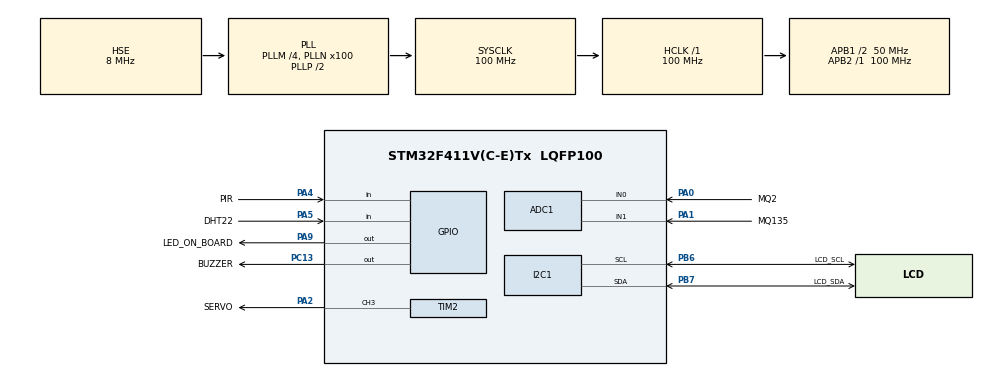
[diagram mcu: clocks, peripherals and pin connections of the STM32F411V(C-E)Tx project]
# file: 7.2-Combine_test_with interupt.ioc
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ADC1.Channel-0\#ChannelRegularConversion=ADC_CHANNEL_0
ADC1.Channel-1\#ChannelRegularConversion=ADC_CHANNEL_1
ADC1.ContinuousConvMode=ENABLE
ADC1.DMAContinuousRequests=ENABLE
ADC1.NbrOfConversion=2
ADC1.NbrOfConversionFlag=1
ADC1.Rank-0\#ChannelRegularConversion=1
ADC1.Rank-1\#ChannelRegularConversion=2
ADC1.SamplingTime-0\#ChannelRegularConversion=ADC_SAMPLETIME_84CYCLES
ADC1.SamplingTime-1\#ChannelRegularConversion=ADC_SAMPLETIME_84CYCLES
ADC1.ScanConvMode=ENABLE
ADC1.master=1
Dma.ADC1.0.Direction=DMA_PERIPH_TO_MEMORY
Dma.ADC1.0.FIFOMode=DMA_FIFOMODE_DISABLE
Dma.ADC1.0.Instance=DMA2_Stream0
Dma.ADC1.0.MemDataAlignment=DMA_MDATAALIGN_HALFWORD
Dma.ADC1.0.MemInc=DMA_MINC_ENABLE
Dma.ADC1.0.Mode=DMA_CIRCULAR
Dma.ADC1.0.PeriphDataAlignment=DMA_PDATAALIGN_HALFWORD
Dma.ADC1.0.PeriphInc=DMA_PINC_DISABLE
Dma.ADC1.0.Priority=DMA_PRIORITY_LOW
Dma.Request0=ADC1
Mcu.Family=STM32F4
Mcu.Name=STM32F411V(C-E)Tx
Mcu.Package=LQFP100
NVIC.DMA2_Stream0_IRQn=true\:0\:0\:false\:false\:true\:false\:true\:true
NVIC.PriorityGroup=NVIC_PRIORITYGROUP_4
NVIC.TIM2_IRQn=true\:0\:0\:false\:false\:true\:true\:true\:true
NVIC.TIM4_IRQn=true\:0\:0\:false\:false\:true\:true\:true\:true
PA0-WKUP.GPIO_Label=MQ2
PA0-WKUP.Signal=ADCx_IN0
PA1.GPIO_Label=MQ135
PA1.Signal=ADCx_IN1
PA13.Mode=Serial_Wire
PA13.Signal=SYS_JTMS-SWDIO
PA14.Mode=Serial_Wire
PA14.Signal=SYS_JTCK-SWCLK
PA2.GPIO_Label=SERVO
PA2.Signal=S_TIM2_CH3
PA4.GPIO_Label=PIR
PA4.Signal=GPIO_Input
PA5.GPIO_Label=DHT22
PA5.Signal=GPIO_Input
PA9.GPIO_Label=LED_ON_BOARD
PA9.Signal=GPIO_Output
PB6.GPIO_Label=LCD_SCL
PB6.Mode=I2C
PB6.Signal=I2C1_SCL
PB7.GPIO_Label=LCD_SDA
PB7.Mode=I2C
PB7.Signal=I2C1_SDA
PC13-ANTI_TAMP.GPIO_Label=BUZZER
PC13-ANTI_TAMP.Signal=GPIO_Output
PH0\ -\ OSC_IN.Mode=HSE-External-Oscillator
PH0\ -\ OSC_IN.Signal=RCC_OSC_IN
PH1\ -\ OSC_OUT.Mode=HSE-External-Oscillator
PH1\ -\ OSC_OUT.Signal=RCC_OSC_OUT
ProjectManager.HeapSize=0x200
ProjectManager.StackSize=0x400
ProjectManager.TargetToolchain=STM32CubeIDE
RCC.48MHZClocksFreq_Value=50000000
RCC.AHBFreq_Value=100000000
RCC.APB1CLKDivider=RCC_HCLK_DIV2
RCC.APB1Freq_Value=50000000
RCC.APB1TimFreq_Value=100000000
RCC.APB2Freq_Value=100000000
RCC.APB2TimFreq_Value=100000000
RCC.CortexFreq_Value=100000000
RCC.HCLKFreq_Value=100000000
RCC.HSE_VALUE=8000000
RCC.HSI_VALUE=16000000
RCC.LSE_VALUE=32768
RCC.PLLM=4
RCC.PLLN=100
RCC.PLLSourceVirtual=RCC_PLLSOURCE_HSE
RCC.SYSCLKFreq_VALUE=100000000
RCC.SYSCLKSource=RCC_SYSCLKSOURCE_PLLCLK
RCC.VCOOutputFreq_Value=200000000
SH.ADCx_IN0.0=ADC1_IN0,IN0
SH.ADCx_IN1.0=ADC1_IN1,IN1
SH.S_TIM2_CH3.0=TIM2_CH3,PWM Generation3 CH3
TIM2.AutoReloadPreload=TIM_AUTORELOAD_PRELOAD_ENABLE
TIM2.Channel-PWM\ Generation3\ CH3=TIM_CHANNEL_3
TIM2.Period=19999
TIM2.Prescaler=99
TIM4.Period=999
TIM4.Prescaler=99
VP_TIM4_VS_ClockSourceINT.Mode=Internal
board=custom

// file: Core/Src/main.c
/* USER CODE BEGIN Header */
/**
  ******************************************************************************
  * @file           : main.c
  * @brief          : Main program body
  ******************************************************************************
  * @attention
  *
  * Copyright (c) 2025 STMicroelectronics.
  * All rights reserved.
  *
  * This software is licensed under terms that can be found in the LICENSE file
  * in the root directory of this software component.
  * If no LICENSE file comes with this software, it is provided AS-IS.
  *
  ******************************************************************************
  */
/* USER CODE END Header */
#include "main.h"

/* USER CODE BEGIN Includes */
#include "main.h"
#include "i2c_lcd.h"
#include "dhtxx.h"
#include "dwt.h"
#include <stdio.h>
/* USER CODE END Includes */

ADC_HandleTypeDef hadc1;
DMA_HandleTypeDef hdma_adc1;

I2C_HandleTypeDef hi2c1;

TIM_HandleTypeDef htim2;
TIM_HandleTypeDef htim4;

/* USER CODE BEGIN PV */
// --- Handles ---
I2C_LCD_HandleTypeDef lcd;
DHTxx_Drv_t dht22;

// --- Biến đếm nhịp tim hệ thống ---
volatile uint32_t ms_ticks = 0;

// --- Biến lưu giá trị cảm biến ---
float temperature, humidity;
uint32_t pir_state;
uint32_t adc_dma_buffer[2];

// --- Biến cho logic không-chặn ---
uint32_t last_lcd_update_time = 0;

// --- Chuỗi hiển thị ---
char line1_str[17];
char line2_str[17];
/* USER CODE END PV */

void SystemClock_Config(void);
static void MX_GPIO_Init(void);
static void MX_DMA_Init(void);
static void MX_ADC1_Init(void);
static void MX_TIM2_Init(void);
static void MX_I2C1_Init(void);
static void MX_TIM4_Init(void);
/* USER CODE BEGIN PFP */
static void Manual_DMA_Link_Init(void);

/* USER CODE END PFP */

int main(void)
{

  /* MCU Configuration--------------------------------------------------------*/

  /* Reset of all peripherals, Initializes the Flash interface and the Systick. */
  HAL_Init();

  /* Configure the system clock */
  SystemClock_Config();

  /* Initialize all configured peripherals */
  MX_GPIO_Init();
  MX_DMA_Init();
  MX_ADC1_Init();
  MX_TIM2_Init();
  MX_I2C1_Init();
  MX_TIM4_Init();
  /* USER CODE BEGIN 2 */
  // Khởi tạo thư viện
    DwtInit();
    // Cấu hình và liên kết DMA bằng tay để đảm bảo hoạt động
    Manual_DMA_Link_Init();
    lcd.hi2c = &hi2c1;
    lcd.address = 0x4E;
    lcd_init(&lcd);
    dht22.DataPort = DHT22_GPIO_Port;
    dht22.DataPin = DHT22_Pin;
    dht22.Type = DHT22;

    // Bắt đầu các tiến trình nền
    HAL_TIM_Base_Start_IT(&htim4); // Bắt đầu nhịp tim (TIM4)
    HAL_ADC_Start_DMA(&hadc1, adc_dma_buffer, 2);
    HAL_TIM_PWM_Start(&htim2, TIM_CHANNEL_3);

    // Thiết lập trạng thái ban đầu
    __HAL_TIM_SET_COMPARE(&htim2, TIM_CHANNEL_3, 500); // Đóng cửa
    lcd_puts(&lcd, "System ready!");
    HAL_Delay(2000);
    lcd_clear(&lcd);
  /* USER CODE END 2 */

  /* Infinite loop */
  while (1)
  {

    /* USER CODE BEGIN 3 */
	  // Logic trong này chạy cực nhanh, vòng lặp không bị chặn

	      // Khối logic chính chỉ thực thi mỗi 1 giây (1000ms)
	      if (ms_ticks - last_lcd_update_time >= 1000)
	      {
	        last_lcd_update_time = ms_ticks; // Đặt lại mốc thời gian

	        // 1. ĐỌC DỮ LIỆU CẢM BIẾN
	        DHT_GetData(&dht22);
	        temperature = dht22.Temperature;
	        humidity = dht22.Humidity;
	        pir_state = HAL_GPIO_ReadPin(PIR_GPIO_Port, PIR_Pin);
	        uint32_t mq2_value = adc_dma_buffer[0];
	        uint32_t mq135_value = adc_dma_buffer[1];

	        // 2. XỬ LÝ LOGIC VÀ ĐIỀU KHIỂN
	        if (mq2_value > 1000) // Ngưỡng báo động gas
	        {
	          HAL_GPIO_WritePin(BUZZER_GPIO_Port, BUZZER_Pin, GPIO_PIN_SET);
	          sprintf(line1_str, "CANH BAO GAS!  ");
	          sprintf(line2_str, "Muc do: %-5lu", mq2_value);
	        }
	        else if (pir_state == GPIO_PIN_SET)
	        {
	          HAL_GPIO_WritePin(BUZZER_GPIO_Port, BUZZER_Pin, GPIO_PIN_RESET);
	          __HAL_TIM_SET_COMPARE(&htim2, TIM_CHANNEL_3, 1500); // Mở cửa
	          sprintf(line1_str, "Phat hien       ");
	          sprintf(line2_str, "chuyen dong...  ");
	        }
	        else
	        {
	          HAL_GPIO_WritePin(BUZZER_GPIO_Port, BUZZER_Pin, GPIO_PIN_RESET);
	          __HAL_TIM_SET_COMPARE(&htim2, TIM_CHANNEL_3, 500); // Đóng cửa
	          sprintf(line1_str, "NhietDo: %.1f C ", temperature);
	          sprintf(line2_str, "AQI Raw: %-5lu ", mq135_value);
	        }

	        // 3. CẬP NHẬT MÀN HÌNH LCD
	        lcd_clear(&lcd);
	        lcd_gotoxy(&lcd, 0, 0);
	        lcd_puts(&lcd, line1_str);
	        lcd_gotoxy(&lcd, 0, 1);
	        lcd_puts(&lcd, line2_str);
	      }
  }
  /* USER CODE END 3 */
}

void SystemClock_Config(void)
{
  RCC_OscInitTypeDef RCC_OscInitStruct = {0};
  RCC_ClkInitTypeDef RCC_ClkInitStruct = {0};

  /** Configure the main internal regulator output voltage
  */
  __HAL_RCC_PWR_CLK_ENABLE();
  __HAL_PWR_VOLTAGESCALING_CONFIG(PWR_REGULATOR_VOLTAGE_SCALE1);

  /** Initializes the RCC Oscillators according to the specified parameters
  * in the RCC_OscInitTypeDef structure.
  */
  RCC_OscInitStruct.OscillatorType = RCC_OSCILLATORTYPE_HSE;
  RCC_OscInitStruct.HSEState = RCC_HSE_ON;
  RCC_OscInitStruct.PLL.PLLState = RCC_PLL_ON;
  RCC_OscInitStruct.PLL.PLLSource = RCC_PLLSOURCE_HSE;
  RCC_OscInitStruct.PLL.PLLM = 4;
  RCC_OscInitStruct.PLL.PLLN = 100;
  RCC_OscInitStruct.PLL.PLLP = RCC_PLLP_DIV2;
  RCC_OscInitStruct.PLL.PLLQ = 4;
  if (HAL_RCC_OscConfig(&RCC_OscInitStruct) != HAL_OK)
  {
    Error_Handler();
  }

  /** Initializes the CPU, AHB and APB buses clocks
  */
  RCC_ClkInitStruct.ClockType = RCC_CLOCKTYPE_HCLK|RCC_CLOCKTYPE_SYSCLK
                              |RCC_CLOCKTYPE_PCLK1|RCC_CLOCKTYPE_PCLK2;
  RCC_ClkInitStruct.SYSCLKSource = RCC_SYSCLKSOURCE_PLLCLK;
  RCC_ClkInitStruct.AHBCLKDivider = RCC_SYSCLK_DIV1;
  RCC_ClkInitStruct.APB1CLKDivider = RCC_HCLK_DIV2;
  RCC_ClkInitStruct.APB2CLKDivider = RCC_HCLK_DIV1;

  if (HAL_RCC_ClockConfig(&RCC_ClkInitStruct, FLASH_LATENCY_3) != HAL_OK)
  {
    Error_Handler();
  }
}

static void MX_ADC1_Init(void)
{

  ADC_ChannelConfTypeDef sConfig = {0};

  /** Configure the global features of the ADC (Clock, Resolution, Data Alignment and number of conversion)
  */
  hadc1.Instance = ADC1;
  hadc1.Init.ClockPrescaler = ADC_CLOCK_SYNC_PCLK_DIV4;
  hadc1.Init.Resolution = ADC_RESOLUTION_12B;
  hadc1.Init.ScanConvMode = ENABLE;
  hadc1.Init.ContinuousConvMode = ENABLE;
  hadc1.Init.DiscontinuousConvMode = DISABLE;
  hadc1.Init.ExternalTrigConvEdge = ADC_EXTERNALTRIGCONVEDGE_NONE;
  hadc1.Init.ExternalTrigConv = ADC_SOFTWARE_START;
  hadc1.Init.DataAlign = ADC_DATAALIGN_RIGHT;
  hadc1.Init.NbrOfConversion = 2;
  hadc1.Init.DMAContinuousRequests = ENABLE;
  hadc1.Init.EOCSelection = ADC_EOC_SINGLE_CONV;
  if (HAL_ADC_Init(&hadc1) != HAL_OK)
  {
    Error_Handler();
  }

  /** Configure for the selected ADC regular channel its corresponding rank in the sequencer and its sample time.
  */
  sConfig.Channel = ADC_CHANNEL_0;
  sConfig.Rank = 1;
  sConfig.SamplingTime = ADC_SAMPLETIME_84CYCLES;
  if (HAL_ADC_ConfigChannel(&hadc1, &sConfig) != HAL_OK)
  {
    Error_Handler();
  }

  /** Configure for the selected ADC regular channel its corresponding rank in the sequencer and its sample time.
  */
  sConfig.Channel = ADC_CHANNEL_1;
  sConfig.Rank = 2;
  if (HAL_ADC_ConfigChannel(&hadc1, &sConfig) != HAL_OK)
  {
    Error_Handler();
  }

}

static void MX_I2C1_Init(void)
{

  hi2c1.Instance = I2C1;
  hi2c1.Init.ClockSpeed = 100000;
  hi2c1.Init.DutyCycle = I2C_DUTYCYCLE_2;
  hi2c1.Init.OwnAddress1 = 0;
  hi2c1.Init.AddressingMode = I2C_ADDRESSINGMODE_7BIT;
  hi2c1.Init.DualAddressMode = I2C_DUALADDRESS_DISABLE;
  hi2c1.Init.OwnAddress2 = 0;
  hi2c1.Init.GeneralCallMode = I2C_GENERALCALL_DISABLE;
  hi2c1.Init.NoStretchMode = I2C_NOSTRETCH_DISABLE;
  if (HAL_I2C_Init(&hi2c1) != HAL_OK)
  {
    Error_Handler();
  }

}

static void MX_TIM2_Init(void)
{

  TIM_MasterConfigTypeDef sMasterConfig = {0};
  TIM_OC_InitTypeDef sConfigOC = {0};

  htim2.Instance = TIM2;
  htim2.Init.Prescaler = 99;
  htim2.Init.CounterMode = TIM_COUNTERMODE_UP;
  htim2.Init.Period = 19999;
  htim2.Init.ClockDivision = TIM_CLOCKDIVISION_DIV1;
  htim2.Init.AutoReloadPreload = TIM_AUTORELOAD_PRELOAD_ENABLE;
  if (HAL_TIM_PWM_Init(&htim2) != HAL_OK)
  {
    Error_Handler();
  }
  sMasterConfig.MasterOutputTrigger = TIM_TRGO_RESET;
  sMasterConfig.MasterSlaveMode = TIM_MASTERSLAVEMODE_DISABLE;
  if (HAL_TIMEx_MasterConfigSynchronization(&htim2, &sMasterConfig) != HAL_OK)
  {
    Error_Handler();
  }
  sConfigOC.OCMode = TIM_OCMODE_PWM1;
  sConfigOC.Pulse = 0;
  sConfigOC.OCPolarity = TIM_OCPOLARITY_HIGH;
  sConfigOC.OCFastMode = TIM_OCFAST_DISABLE;
  if (HAL_TIM_PWM_ConfigChannel(&htim2, &sConfigOC, TIM_CHANNEL_3) != HAL_OK)
  {
    Error_Handler();
  }
  HAL_TIM_MspPostInit(&htim2);

}

static void MX_TIM4_Init(void)
{

  TIM_ClockConfigTypeDef sClockSourceConfig = {0};
  TIM_MasterConfigTypeDef sMasterConfig = {0};

  htim4.Instance = TIM4;
  htim4.Init.Prescaler = 99;
  htim4.Init.CounterMode = TIM_COUNTERMODE_UP;
  htim4.Init.Period = 999;
  htim4.Init.ClockDivision = TIM_CLOCKDIVISION_DIV1;
  htim4.Init.AutoReloadPreload = TIM_AUTORELOAD_PRELOAD_DISABLE;
  if (HAL_TIM_Base_Init(&htim4) != HAL_OK)
  {
    Error_Handler();
  }
  sClockSourceConfig.ClockSource = TIM_CLOCKSOURCE_INTERNAL;
  if (HAL_TIM_ConfigClockSource(&htim4, &sClockSourceConfig) != HAL_OK)
  {
    Error_Handler();
  }
  sMasterConfig.MasterOutputTrigger = TIM_TRGO_RESET;
  sMasterConfig.MasterSlaveMode = TIM_MASTERSLAVEMODE_DISABLE;
  if (HAL_TIMEx_MasterConfigSynchronization(&htim4, &sMasterConfig) != HAL_OK)
  {
    Error_Handler();
  }

}

static void MX_DMA_Init(void)
{

  /* DMA controller clock enable */
  __HAL_RCC_DMA2_CLK_ENABLE();

  /* DMA interrupt init */
  /* DMA2_Stream0_IRQn interrupt configuration */
  HAL_NVIC_SetPriority(DMA2_Stream0_IRQn, 0, 0);
  HAL_NVIC_EnableIRQ(DMA2_Stream0_IRQn);

}

static void MX_GPIO_Init(void)
{
  GPIO_InitTypeDef GPIO_InitStruct = {0};

  /* GPIO Ports Clock Enable */
  __HAL_RCC_GPIOC_CLK_ENABLE();
  __HAL_RCC_GPIOH_CLK_ENABLE();
  __HAL_RCC_GPIOA_CLK_ENABLE();
  __HAL_RCC_GPIOB_CLK_ENABLE();

  /*Configure GPIO pin Output Level */
  HAL_GPIO_WritePin(BUZZER_GPIO_Port, BUZZER_Pin, GPIO_PIN_RESET);
  HAL_GPIO_WritePin(LED_ON_BOARD_GPIO_Port, LED_ON_BOARD_Pin, GPIO_PIN_RESET);

  /*Configure GPIO pin : BUZZER_Pin */
  GPIO_InitStruct.Pin = BUZZER_Pin;
  GPIO_InitStruct.Mode = GPIO_MODE_OUTPUT_PP;
  GPIO_InitStruct.Pull = GPIO_NOPULL;
  GPIO_InitStruct.Speed = GPIO_SPEED_FREQ_LOW;
  HAL_GPIO_Init(BUZZER_GPIO_Port, &GPIO_InitStruct);

  /*Configure GPIO pins : PIR_Pin DHT22_Pin */
  GPIO_InitStruct.Pin = PIR_Pin|DHT22_Pin;
  GPIO_InitStruct.Mode = GPIO_MODE_INPUT;
  GPIO_InitStruct.Pull = GPIO_NOPULL;
  HAL_GPIO_Init(GPIOA, &GPIO_InitStruct);

  /*Configure GPIO pin : LED_ON_BOARD_Pin */
  GPIO_InitStruct.Pin = LED_ON_BOARD_Pin;
  GPIO_InitStruct.Mode = GPIO_MODE_OUTPUT_PP;
  GPIO_InitStruct.Pull = GPIO_NOPULL;
  GPIO_InitStruct.Speed = GPIO_SPEED_FREQ_LOW;
  HAL_GPIO_Init(LED_ON_BOARD_GPIO_Port, &GPIO_InitStruct);

  /* === BỔ SUNG CẤU HÌNH CHO SERVO VÀ ADC === */
  /*Configure GPIO pin : SERVO_Pin */
  GPIO_InitStruct.Pin = SERVO_Pin;
  GPIO_InitStruct.Mode = GPIO_MODE_AF_PP;
  GPIO_InitStruct.Pull = GPIO_NOPULL;
  GPIO_InitStruct.Speed = GPIO_SPEED_FREQ_LOW;
  GPIO_InitStruct.Alternate = GPIO_AF1_TIM2;
  HAL_GPIO_Init(SERVO_GPIO_Port, &GPIO_InitStruct);

  /*Configure GPIO pins : MQ_2_Pin MQ_135_Pin */
  GPIO_InitStruct.Pin = MQ2_Pin|MQ135_Pin;
  GPIO_InitStruct.Mode = GPIO_MODE_ANALOG;
  GPIO_InitStruct.Pull = GPIO_NOPULL;
  HAL_GPIO_Init(GPIOA, &GPIO_InitStruct);
  /* ======================================= */
}

/* USER CODE BEGIN 4 */
/**
  * @brief  Cấu hình và liên kết DMA với ADC một cách thủ công.
  */
static void Manual_DMA_Link_Init(void)
{
  // 1. Cấu hình chi tiết cho luồng DMA
  hdma_adc1.Instance = DMA2_Stream0;
  hdma_adc1.Init.Channel = DMA_CHANNEL_0;
  hdma_adc1.Init.Direction = DMA_PERIPH_TO_MEMORY;
  hdma_adc1.Init.PeriphInc = DMA_PINC_DISABLE;
  hdma_adc1.Init.MemInc = DMA_MINC_ENABLE;
  hdma_adc1.Init.PeriphDataAlignment = DMA_PDATAALIGN_WORD;
  hdma_adc1.Init.MemDataAlignment = DMA_MDATAALIGN_WORD;
  hdma_adc1.Init.Mode = DMA_CIRCULAR;
  hdma_adc1.Init.Priority = DMA_PRIORITY_HIGH;
  hdma_adc1.Init.FIFOMode = DMA_FIFOMODE_DISABLE;
  if (HAL_DMA_Init(&hdma_adc1) != HAL_OK)
  {
    Error_Handler();
  }

  // 2. Liên kết ADC với DMA
  __HAL_LINKDMA(&hadc1, DMA_Handle, hdma_adc1);
}
/* USER CODE END 4 */

void Error_Handler(void)
{
  __disable_irq();
  while (1)
  {
  }
}
